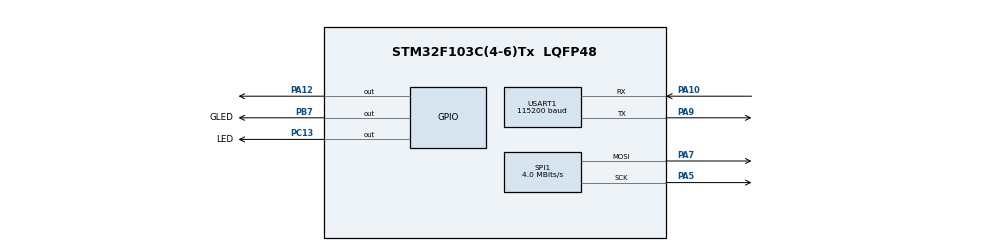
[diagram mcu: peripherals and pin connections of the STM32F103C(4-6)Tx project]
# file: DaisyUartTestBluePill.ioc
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Mcu.Family=STM32F1
Mcu.Name=STM32F103C(4-6)Tx
Mcu.Package=LQFP48
NVIC.PriorityGroup=NVIC_PRIORITYGROUP_4
NVIC.USART1_IRQn=true\:0\:0\:false\:false\:true\:true\:true\:true
PA10.Mode=Asynchronous
PA10.Signal=USART1_RX
PA12.Signal=GPIO_Output
PA5.Mode=TX_Only_Simplex_Unidirect_Master
PA5.Signal=SPI1_SCK
PA7.Mode=TX_Only_Simplex_Unidirect_Master
PA7.Signal=SPI1_MOSI
PA9.Mode=Asynchronous
PA9.Signal=USART1_TX
PB7.GPIO_Label=GLED
PB7.GPIO_PuPd=GPIO_PULLUP
PB7.Signal=GPIO_Output
PC13-TAMPER-RTC.GPIO_Label=LED
PC13-TAMPER-RTC.GPIO_PuPd=GPIO_PULLUP
PC13-TAMPER-RTC.Signal=GPIO_Output
ProjectManager.HeapSize=0x200
ProjectManager.StackSize=0x400
ProjectManager.TargetToolchain=Makefile
RCC.APB1Freq_Value=8000000
RCC.APB2Freq_Value=8000000
SPI1.CalculateBaudRate=4.0 MBits/s
SPI1.Direction=SPI_DIRECTION_2LINES
SPI1.Mode=SPI_MODE_MASTER
SPI1.VirtualType=VM_MASTER
USART1.BaudRate=115200
USART1.VirtualMode=VM_ASYNC
VP_SYS_VS_ND.Mode=No_Debug
board=custom

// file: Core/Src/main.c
/* USER CODE BEGIN Header */
/**
  ******************************************************************************
  * @file           : main.c
  * @brief          : Main program body
  ******************************************************************************
  * @attention
  *
  * Copyright (c) 2023 STMicroelectronics.
  * All rights reserved.
  *
  * This software is licensed under terms that can be found in the LICENSE file
  * in the root directory of this software component.
  * If no LICENSE file comes with this software, it is provided AS-IS.
  *
  ******************************************************************************
  */
/* USER CODE END Header */
#include "main.h"

/* USER CODE BEGIN Includes */
#include "ibc.h"
#include "max7219.h"

/* USER CODE END Includes */

/* USER CODE BEGIN PD */
#define IBCID_PC 0x1
#define IBCID_REG1 0x2
#define IBCID_REG2 0x3
#define ICBID_CLK 0x8

#define IBCATTN_MEM 0x1
#define IBCATTN_CONT 0x2
#define IBCATTN_ALU 0x4
#define IBCATTN_REG 0x8

/* USER CODE END PD */

SPI_HandleTypeDef hspi1;

UART_HandleTypeDef huart1;

void SystemClock_Config(void);
static void MX_GPIO_Init(void);
static void MX_USART1_UART_Init(void);
static void MX_SPI1_Init(void);
/* USER CODE BEGIN PFP */
void handlePacket(uint8_t id, uint8_t len, uint8_t* data);
uint8_t data[8];
uint8_t dataLen = 0;
uint8_t msgIdx = 0;

/* USER CODE END PFP */

/* USER CODE BEGIN 0 */

void updateData() {
    switch (msgIdx) {
    case 1:
        //send PC to CONT
        // data[0] = 0x23;
        // data[1] = 0x81;
        // data[2] = 0x80;
        // data[3] = 0x00;
        // data[4] = 0x24;
        // data[5] = 0xF0;
        // dataLen = 6;
        data[0] = 0x23;
        data[1] = 0x21;
        data[2] = 0x01;
        dataLen = 3;
        break;
    case 2:
        //send reg1 to regfile
        // data[0] = 0x83;
        // data[1] = 0x82;
        // data[2] = 0x00;
        // data[3] = 0x00;
        // data[4] = 0x33;
        // data[5] = 0x33;
        // dataLen = 6;
        data[0] = 0x83;
        data[1] = 0x21;
        data[2] = 0x01;
        dataLen = 3;
        break;
    case 3:
        //send CLK to all boards
        // data[0] = 0xF3;
        // data[1] = 0x28;
        // data[2] = 0x00;
        // dataLen = 3;
        data[0] = 0xF3;
        data[1] = 0x21;
        data[2] = 0x01;
        dataLen = 3;
        break;
    default:
        //reset - toggle LED
        msgIdx = 0;
        data[0] = 0xF3;
        data[1] = 0x21;
        data[2] = 0x01;
        dataLen = 3;
        break;
    }
}

void initMax() {
    max7219_Init();
    max7219_SetIntensivity(8);
    max7219_TurnOn();
}

void handlePacket(uint8_t id, uint8_t len, uint8_t* data) {
    uint32_t dat;
    switch (len) {
    case 1:
        dat = *data;
        break;
    case 2:
        dat = *((uint16_t*)data);
        break;
        //case 4:
    default:
        dat = *((uint32_t*)data);
        break;
    }
    // switch (id) {
    // case IBCID_PC:
    //     max7219_SendData(8, MAX7219_SYM_8);
    //     max7219_SendData(7, MAX7219_SYM_0);
    //     max7219_SendData(6, MAX7219_SYM_0);
    //     max7219_SendData(5, MAX7219_SYM_0);
    //     max7219_SendData(4, MAX7219_SYM_2);
    //     max7219_SendData(3, MAX7219_SYM_4);
    //     max7219_SendData(2, MAX7219_SYM_F);
    //     max7219_SendData(1, MAX7219_SYM_0);
    //     break;
    // case IBCID_REG1:
    //     max7219_SendData(8, MAX7219_SYM_0);
    //     max7219_SendData(7, MAX7219_SYM_0);
    //     max7219_SendData(6, MAX7219_SYM_0);
    //     max7219_SendData(5, MAX7219_SYM_0);
    //     max7219_SendData(4, MAX7219_SYM_3);
    //     max7219_SendData(3, MAX7219_SYM_3);
    //     max7219_SendData(2, MAX7219_SYM_3);
    //     max7219_SendData(1, MAX7219_SYM_3);
    //     break;
    // case ICBID_CLK:
    //     max7219_SendData(8, MAX7219_SYM_C);
    //     max7219_SendData(7, MAX7219_SYM_L);
    //     max7219_SendData(6, MAX7219_SYM_O);
    //     max7219_SendData(5, MAX7219_SYM_C);
    //     max7219_SendData(4, MAX7219_SYM_DOT);
    //     max7219_SendData(3, MAX7219_SYM_DOT);
    //     max7219_SendData(2, MAX7219_SYM_DOT);
    //     max7219_SendData(1, MAX7219_SYM_DOT);
    //     break;
    // }
    switch (dat) {
    case 1:
        HAL_GPIO_TogglePin(LED_GPIO_Port, LED_Pin);
        HAL_GPIO_TogglePin(GLED_GPIO_Port, GLED_Pin);
        break;
    case 2:
        HAL_GPIO_TogglePin(GLED_GPIO_Port, GLED_Pin);
        break;
    }
}

/* USER CODE END 0 */

int main(void)
{

  /* MCU Configuration--------------------------------------------------------*/

  /* Reset of all peripherals, Initializes the Flash interface and the Systick. */
  HAL_Init();

  /* Configure the system clock */
  SystemClock_Config();

  /* Initialize all configured peripherals */
  MX_GPIO_Init();
  MX_USART1_UART_Init();
  MX_SPI1_Init();

  /* Infinite loop */
  /* USER CODE BEGIN WHILE */
    initIbc(&huart1, &handlePacket, 0x1);
    uint32_t lastTick = HAL_GetTick();
    while (1) {
        processIbcInbox();

        if (HAL_GetTick() - lastTick >= 1000) {
            msgIdx++;
            updateData();
            HAL_UART_Transmit_IT(&huart1, data, dataLen);
            // max7219_SendData(1, MAX7219_SYM_1);
            lastTick = HAL_GetTick();
        }
    /* USER CODE END WHILE */

    }
}

void SystemClock_Config(void)
{
  RCC_OscInitTypeDef RCC_OscInitStruct = {0};
  RCC_ClkInitTypeDef RCC_ClkInitStruct = {0};

  /** Initializes the RCC Oscillators according to the specified parameters
  * in the RCC_OscInitTypeDef structure.
  */
  RCC_OscInitStruct.OscillatorType = RCC_OSCILLATORTYPE_HSI;
  RCC_OscInitStruct.HSIState = RCC_HSI_ON;
  RCC_OscInitStruct.HSICalibrationValue = RCC_HSICALIBRATION_DEFAULT;
  RCC_OscInitStruct.PLL.PLLState = RCC_PLL_NONE;
  if (HAL_RCC_OscConfig(&RCC_OscInitStruct) != HAL_OK)
  {
    Error_Handler();
  }

  /** Initializes the CPU, AHB and APB buses clocks
  */
  RCC_ClkInitStruct.ClockType = RCC_CLOCKTYPE_HCLK|RCC_CLOCKTYPE_SYSCLK
                              |RCC_CLOCKTYPE_PCLK1|RCC_CLOCKTYPE_PCLK2;
  RCC_ClkInitStruct.SYSCLKSource = RCC_SYSCLKSOURCE_HSI;
  RCC_ClkInitStruct.AHBCLKDivider = RCC_SYSCLK_DIV1;
  RCC_ClkInitStruct.APB1CLKDivider = RCC_HCLK_DIV1;
  RCC_ClkInitStruct.APB2CLKDivider = RCC_HCLK_DIV1;

  if (HAL_RCC_ClockConfig(&RCC_ClkInitStruct, FLASH_LATENCY_0) != HAL_OK)
  {
    Error_Handler();
  }
}

static void MX_SPI1_Init(void)
{

  /* SPI1 parameter configuration*/
  hspi1.Instance = SPI1;
  hspi1.Init.Mode = SPI_MODE_MASTER;
  hspi1.Init.Direction = SPI_DIRECTION_2LINES;
  hspi1.Init.DataSize = SPI_DATASIZE_8BIT;
  hspi1.Init.CLKPolarity = SPI_POLARITY_LOW;
  hspi1.Init.CLKPhase = SPI_PHASE_1EDGE;
  hspi1.Init.NSS = SPI_NSS_SOFT;
  hspi1.Init.BaudRatePrescaler = SPI_BAUDRATEPRESCALER_2;
  hspi1.Init.FirstBit = SPI_FIRSTBIT_MSB;
  hspi1.Init.TIMode = SPI_TIMODE_DISABLE;
  hspi1.Init.CRCCalculation = SPI_CRCCALCULATION_DISABLE;
  hspi1.Init.CRCPolynomial = 10;
  if (HAL_SPI_Init(&hspi1) != HAL_OK)
  {
    Error_Handler();
  }

}

static void MX_USART1_UART_Init(void)
{

  huart1.Instance = USART1;
  huart1.Init.BaudRate = 115200;
  huart1.Init.WordLength = UART_WORDLENGTH_8B;
  huart1.Init.StopBits = UART_STOPBITS_1;
  huart1.Init.Parity = UART_PARITY_NONE;
  huart1.Init.Mode = UART_MODE_TX_RX;
  huart1.Init.HwFlowCtl = UART_HWCONTROL_NONE;
  huart1.Init.OverSampling = UART_OVERSAMPLING_16;
  if (HAL_UART_Init(&huart1) != HAL_OK)
  {
    Error_Handler();
  }

}

static void MX_GPIO_Init(void)
{
  GPIO_InitTypeDef GPIO_InitStruct = {0};

  /* GPIO Ports Clock Enable */
  __HAL_RCC_GPIOC_CLK_ENABLE();
  __HAL_RCC_GPIOA_CLK_ENABLE();
  __HAL_RCC_GPIOB_CLK_ENABLE();

  /*Configure GPIO pin Output Level */
  HAL_GPIO_WritePin(LED_GPIO_Port, LED_Pin, GPIO_PIN_RESET);

  /*Configure GPIO pin Output Level */
  HAL_GPIO_WritePin(GPIOA, GPIO_PIN_12, GPIO_PIN_RESET);

  /*Configure GPIO pin Output Level */
  HAL_GPIO_WritePin(GLED_GPIO_Port, GLED_Pin, GPIO_PIN_RESET);

  /*Configure GPIO pin : LED_Pin */
  GPIO_InitStruct.Pin = LED_Pin;
  GPIO_InitStruct.Mode = GPIO_MODE_OUTPUT_PP;
  GPIO_InitStruct.Pull = GPIO_PULLUP;
  GPIO_InitStruct.Speed = GPIO_SPEED_FREQ_LOW;
  HAL_GPIO_Init(LED_GPIO_Port, &GPIO_InitStruct);

  /*Configure GPIO pin : PA12 */
  GPIO_InitStruct.Pin = GPIO_PIN_12;
  GPIO_InitStruct.Mode = GPIO_MODE_OUTPUT_PP;
  GPIO_InitStruct.Pull = GPIO_NOPULL;
  GPIO_InitStruct.Speed = GPIO_SPEED_FREQ_LOW;
  HAL_GPIO_Init(GPIOA, &GPIO_InitStruct);

  /*Configure GPIO pin : GLED_Pin */
  GPIO_InitStruct.Pin = GLED_Pin;
  GPIO_InitStruct.Mode = GPIO_MODE_OUTPUT_PP;
  GPIO_InitStruct.Pull = GPIO_PULLUP;
  GPIO_InitStruct.Speed = GPIO_SPEED_FREQ_LOW;
  HAL_GPIO_Init(GLED_GPIO_Port, &GPIO_InitStruct);

}

void Error_Handler(void)
{
    __disable_irq();
    while (1)
    {
    }
}
